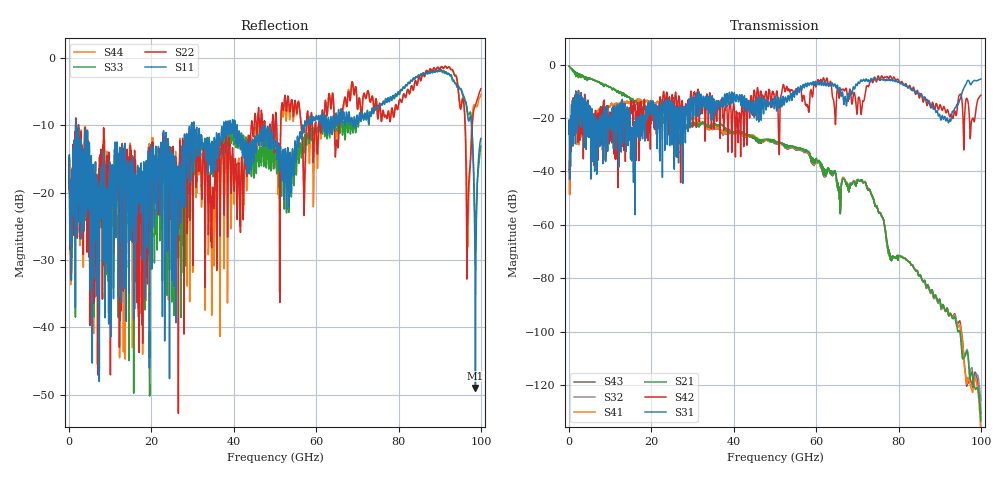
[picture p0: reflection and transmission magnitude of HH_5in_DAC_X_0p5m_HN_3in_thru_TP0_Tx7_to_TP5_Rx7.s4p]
# GHz S RI R 45
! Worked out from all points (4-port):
!   4000 points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, 25 MHz to 100 GHz, reference 45 ohm
!   strongest paths, dB at 25 MHz, 25.02 GHz, 50.02 GHz, 75.03 GHz, 100 GHz:
!     S31: -26.1, -29.2, -12.9, -5.6, -5.4
!     S42: -26.1, -11.5, -14.7, -4.3, -11.5
!     S21: -0.6, -22.0, -28.6, -54.9, -133.5
!     S41: -40.3, -16.6, -28.7, -54.9, -140.6
!     S32: -40.3, -16.6, -28.9, -54.9, -125.7
!     S43: -0.6, -22.1, -29.0, -54.9, -130.6
!   lowest |S11| = -49.0 dB at 98.67 GHz (marker M1), VSWR 1.01, Z = 45.3 + j0.00881 ohm
!   |S11| at or under -10 dB: 1.678 GHz to 29.69 GHz (28.01 GHz wide, 179 % of centre); 30.4 GHz to 37.54 GHz (7.142 GHz wide, 21 % of centre); 47.62 GHz to 56.75 GHz (9.14 GHz wide, 17.5 % of centre) (the widest 3 of 25)
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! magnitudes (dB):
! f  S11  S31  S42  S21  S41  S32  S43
! 25 MHz  -19.0  -26.1  -26.1  -0.6  -40.3  -40.3  -0.6
! 26.57 GHz  -24.1  -32.5  -13.5  -27.4  -16.1  -16.2  -28.9
! 71.55 GHz  -9.2  -5.5  -13.6  -44.1  -44.0  -44.1  -44.0
! 90.65 GHz  -1.9  -19.1  -17.1  -90.3  -90.4  -90.2  -90.3
! 96.88 GHz  -9.1  -5.9  -14.0  -108.9  -117.1  -108.5  -118.8
! 98.67 GHz  -49.0  -6.0  -18.4  -121.7  -117.8  -116.4  -115.3
! 100 GHz  -12.0  -5.4  -11.5  -133.5  -140.6  -125.7  -130.6
